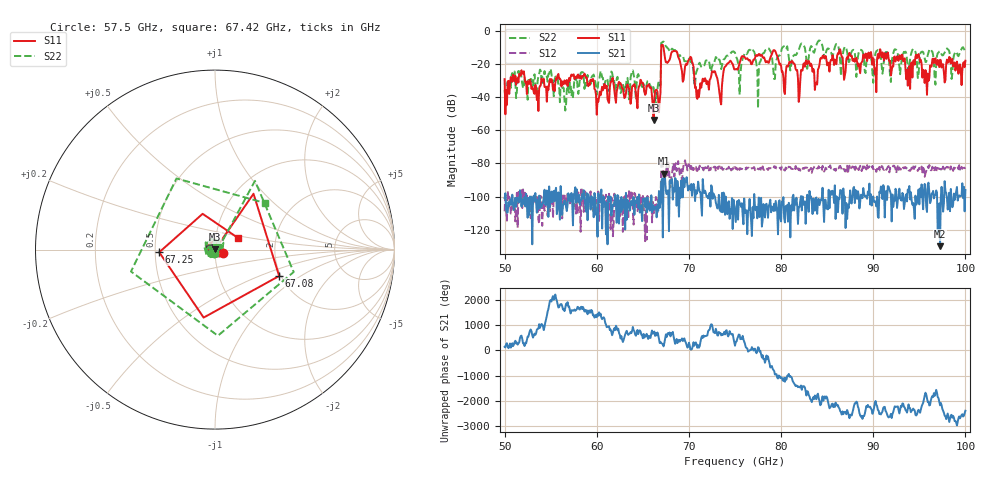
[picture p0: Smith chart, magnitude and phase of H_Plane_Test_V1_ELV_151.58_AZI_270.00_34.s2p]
! 11/27/2026 8:24:02 AM
! C:\ANRITSUVNA\TEMP\TEMP.S2P
! CHANNEL.1
! TR.MEASUREMENT
! RAW.DATA
# HZ S RI R 50.0
! FREQ.HZ  S11RE  S11IM  S21RE  S21IM  S12RE  S12IM  S22RE  S22IM
!; PortSelection: Port_12
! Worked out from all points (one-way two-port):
!   601 points, 50 GHz to 100 GHz, reference 50 ohm
!   highest |S21| = -86.17 dB at 67.33 GHz (marker M1); lowest = -130.0 dB at 97.25 GHz (marker M2)
!   lowest |S11| = -53.7 dB at 66.17 GHz (marker M3), VSWR 1.00, Z = 50.1 + j0.156 ohm
!   |S11| at or under -10 dB: start of sweep to 67 GHz; 67.24 GHz to end of sweep
!   |S22| runs from -48.0 to -5.6 dB; largest |S21 - S12| = 0.00013
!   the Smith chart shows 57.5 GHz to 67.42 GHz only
!   S11 on the Smith chart (normalised r, x): 57.5 GHz: 1.09, -0.05; 67.08 GHz: 1.96, -0.68; 67.25 GHz: 0.53, -0.02; 67.42 GHz: 1.29, +0.17
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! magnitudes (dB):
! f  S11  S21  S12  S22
! 50 GHz  -29.0  -101.0  -108.9  -35.6
! 51.67 GHz  -26.2  -96.2  -99.4  -23.1
! 57.5 GHz  -26.1  -98.5  -99.4  -34.4
! 58.42 GHz  -27.1  -98.4  -102.7  -24.7
! 60.17 GHz  -42.6  -97.9  -97.0  -30.2
! 66.17 GHz  -53.7  -108.0  -108.7  -34.0
! 66.67 GHz  -41.8  -108.6  -101.4  -31.5
! 67.08 GHz  -8.3  -89.3  -80.5  -6.8
! 67.25 GHz  -10.1  -89.3  -89.2  -6.3
! 67.33 GHz  -13.5  -86.2  -86.9  -6.9
! 67.42 GHz  -16.8  -89.5  -85.8  -8.4
! 70.25 GHz  -16.0  -92.4  -81.5  -18.8
! 70.92 GHz  -40.9  -96.5  -84.5  -23.1
! 75 GHz  -23.1  -110.4  -82.1  -13.0
! 77.58 GHz  -13.8  -100.6  -83.6  -21.9
! 78.5 GHz  -18.2  -107.4  -83.1  -10.8
! 79.33 GHz  -11.7  -108.6  -82.5  -28.8
! 80.25 GHz  -27.9  -100.4  -83.5  -9.3
! 83.42 GHz  -24.6  -110.5  -83.7  -10.9
! 91.67 GHz  -16.6  -94.0  -81.5  -15.3
! 97.25 GHz  -17.3  -130.0  -81.9  -12.1
! 100 GHz  -17.9  -96.0  -82.5  -12.6
